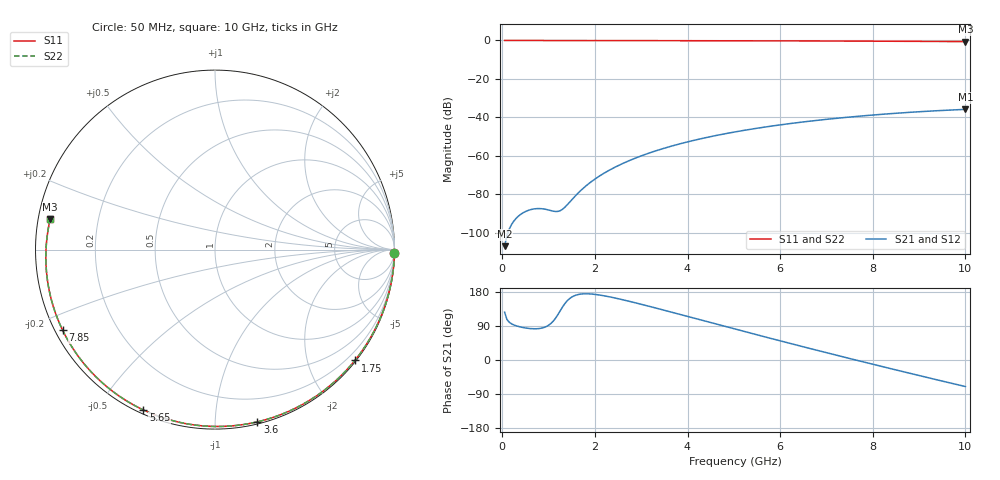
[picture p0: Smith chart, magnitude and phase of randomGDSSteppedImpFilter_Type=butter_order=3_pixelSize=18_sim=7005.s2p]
! freq	dB(S11)	phase(S11)	dB(S12)	phase(S12)
!  dB(S21)	phase(S21)	dB(S22)	phase(S22)
!S-par simulation data
#  GHz  S  DB  R 50
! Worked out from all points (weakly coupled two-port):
!   200 points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, 50 MHz to 10 GHz, reference 50 ohm
!   highest |S21| = -35.81 dB at 10 GHz (marker M1); lowest = -106.9 dB at 50 MHz (marker M2)
!   lowest |S11| = -0.6 dB at 10 GHz (marker M3), VSWR 29.12, Z = 1.73 + j4.59 ohm
!   |S11| at or under -10 dB: nowhere
!   |S22| runs from -0.6 to 0.0 dB; largest |S21 - S12| = 0
!   S11 on the Smith chart (normalised r, x): 50 MHz: open; 1.75 GHz: 0.03, -2.87; 3.6 GHz: 0.02, -1.28; 5.65 GHz: 0.02, -0.65; 7.85 GHz: 0.02, -0.25; 10 GHz: 0.03, +0.09
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0.05  -0.00 -1.1  -106.88 126.0  -106.88 126.0  -0.00 -1.1
0.4  -0.01 -8.9  -90.30 86.9  -90.30 86.9  -0.01 -8.9
0.8  -0.02 -17.8  -87.35 83.1  -87.35 83.1  -0.02 -17.8
1.6  -0.04 -35.2  -80.19 171.5  -80.19 171.5  -0.04 -35.2
1.75  -0.05 -38.4  -76.74 174.6  -76.74 174.6  -0.05 -38.4
1.9  -0.05 -41.6  -73.78 174.3  -73.78 174.3  -0.05 -41.6
2.05  -0.06 -44.7  -71.20 172.4  -71.20 172.4  -0.06 -44.7
2.25  -0.06 -48.9  -68.23 168.3  -68.23 168.3  -0.06 -48.9
2.45  -0.07 -53.1  -65.65 163.2  -65.65 163.2  -0.07 -53.1
2.9  -0.08 -62.3  -60.88 150.1  -60.88 150.1  -0.08 -62.3
3.4  -0.10 -72.2  -56.70 134.4  -56.70 134.4  -0.10 -72.2
3.6  -0.10 -76.2  -55.26 128.0  -55.26 128.0  -0.10 -76.2
4.3  -0.13 -89.5  -51.00 105.3  -51.00 105.3  -0.13 -89.5
5.05  -0.16 -103.4  -47.41 80.9  -47.41 80.9  -0.16 -103.4
5.65  -0.19 -114.1  -45.06 61.7  -45.06 61.7  -0.19 -114.1
6.15  -0.22 -122.9  -43.38 45.8  -43.38 45.8  -0.22 -122.9
6.7  -0.26 -132.4  -41.77 28.6  -41.77 28.6  -0.26 -132.4
7.3  -0.30 -142.7  -40.25 10.1  -40.25 10.1  -0.30 -142.7
7.85  -0.35 -152.1  -39.04 -6.7  -39.04 -6.7  -0.35 -152.2
8.35  -0.40 -160.8  -38.09 -21.7  -38.09 -21.7  -0.40 -160.8
9.2  -0.50 -175.8  -36.75 -46.9  -36.75 -46.9  -0.50 -175.8
10  -0.60 169.5  -35.81 -70.1  -35.81 -70.1  -0.60 169.4
